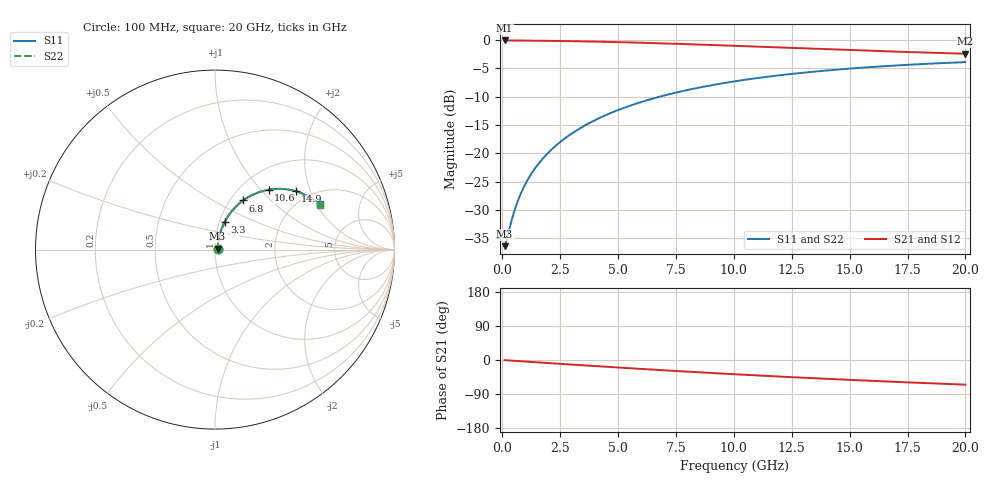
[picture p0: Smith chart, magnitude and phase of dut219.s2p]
! Touchstone file exported from HFSS 2026.1.0
!  File:  C:/ffzhzh/LocalFiles/Ansys_Project_Files/temp_train_TMRDL_219_1782984293_42984.aedt
!  Generated:  05:26:23 PM Jul  2, 2026
!  Design:  TMRDL
!  Project:  temp_train_TMRDL_219_1782984293_42984
! Variables:
!  h_bsmrdl = 2um
!  h_ox = 20um
!  h_rdl = 5um
!  h_sub = 80um
!  h_tmrdl = 2.14um
!  h_tsv = 80um
!  h_via = 3um
!  l_bsmrdl = 300um
!  l_sub = 1388.73um
!  l_tmrdl = 988.73um
!  m_sub = 200um
!  pitch = 40.66um
!  r_tsv = 6um
!  s_tmrdl = 10um
!  w_bsmrdl = 18um
!  w_sub = 500um
!  w_tmrdl = 11.24um
!  x_tsv_center1 = 994.35um
!  x_tsv_center2 = 1312.35um
!  x_tsv_center3 = 2312.32um
!  x_tsv_center4 = 2630.32um
!  x_tsv_center5 = 3630.29um
!  x_tsv_center6 = 3948.29um
# GHz S MA R 50.000000
! Terminal data exported
! Port[1] = TM_RDL1_1_T1
! Port[2] = TM_RDL1_1_T2
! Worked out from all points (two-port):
!   200 points, 100 MHz to 20 GHz, reference 50 ohm
!   highest |S21| = -0.12 dB at 100 MHz (marker M1); lowest = -2.5 dB at 20 GHz (marker M2)
!   |S21| within 3 dB of the highest: start of sweep to end of sweep
!   lowest |S11| = -36.4 dB at 100 MHz (marker M3), VSWR 1.03, Z = 51.4 + j0.533 ohm
!   |S11| at or under -10 dB: start of sweep to 6.821 GHz
!   |S22| runs from -36.4 to -3.9 dB; largest |S21 - S12| = 4e-15
!   S11 on the Smith chart (normalised r, x): 100 MHz: 1.03, +0.01; 3.3 GHz: 1.06, +0.34; 6.8 GHz: 1.15, +0.70; 10.6 GHz: 1.33, +1.11; 14.9 GHz: 1.69, +1.59; 20 GHz: 2.52, +2.12
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0.1  0.01522 19.9  0.9857 -0.4  0.9857 -0.4  0.01522 19.9
! Gamma 0 0 0 0
! Port Impedance 50 0 50 0
0.2  0.01781 35.5  0.9856 -0.8  0.9856 -0.8  0.01781 35.5
0.4  0.02558 53.5  0.9852 -1.7  0.9852 -1.7  0.02558 53.5
0.6  0.03468 62.0  0.9846 -2.5  0.9846 -2.5  0.03468 62.0
0.7  0.0394 64.5  0.9842 -2.9  0.9842 -2.9  0.0394 64.5
0.9  0.04896 67.8  0.9834 -3.7  0.9834 -3.7  0.04896 67.8
1.2  0.06339 70.5  0.9822 -4.9  0.9822 -4.9  0.06339 70.5
1.6  0.08265 72.0  0.9803 -6.6  0.9803 -6.6  0.08265 72.0
2.1  0.1067 72.4  0.9777 -8.5  0.9777 -8.5  0.1066 72.4
2.7  0.1352 71.8  0.9739 -10.9  0.9739 -10.9  0.1352 71.8
3.3  0.1635 70.6  0.9694 -13.3  0.9694 -13.3  0.1634 70.6
3.5  0.1728 70.2  0.9678 -14.1  0.9678 -14.1  0.1727 70.2
4.2  0.2048 68.3  0.9614 -16.8  0.9614 -16.8  0.2048 68.3
5  0.2404 65.9  0.9531 -19.8  0.9531 -19.8  0.2404 65.9
6.8  0.3154 60.2  0.9309 -26.5  0.9309 -26.5  0.3154 60.2
8.3  0.372 55.4  0.9099 -31.8  0.9099 -31.8  0.372 55.4
10.1  0.4324 49.7  0.8831 -37.8  0.8831 -37.8  0.4323 49.7
10.6  0.4477 48.2  0.8755 -39.4  0.8755 -39.4  0.4477 48.2
13.4  0.5223 40.0  0.8338 -47.9  0.8338 -47.9  0.5222 40.0
14.9  0.555 35.9  0.8128 -52.2  0.8128 -52.2  0.555 35.9
16.7  0.5884 31.2  0.7894 -57.0  0.7894 -57.0  0.5884 31.2
20  0.6354 23.3  0.7533 -65.1  0.7533 -65.1  0.6353 23.3
